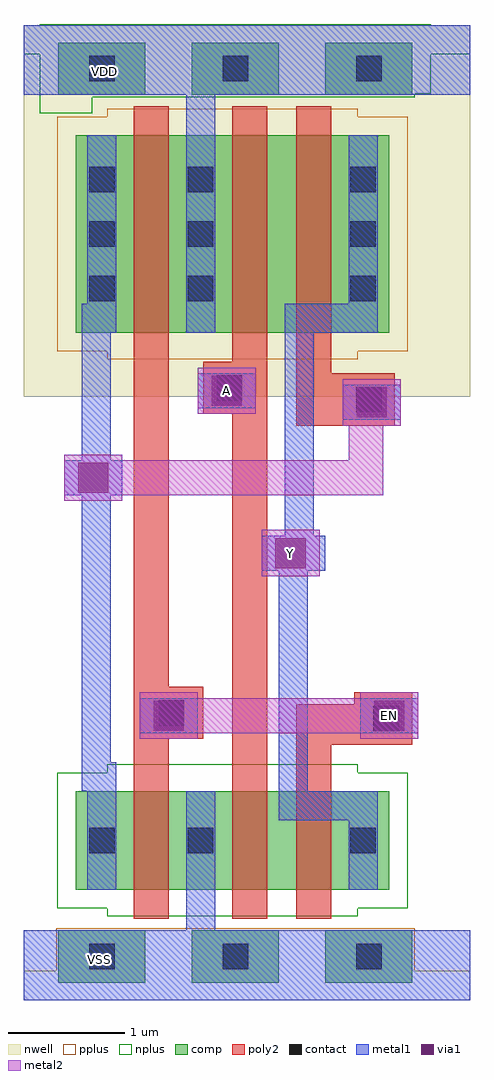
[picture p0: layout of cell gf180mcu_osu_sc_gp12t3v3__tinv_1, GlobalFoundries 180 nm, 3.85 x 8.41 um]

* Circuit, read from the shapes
.subckt gf180mcu_osu_sc_gp12t3v3__tinv_1 A EN VDD VSS Y
XM1 VSS EN n1 VSS nfet_03v3 w=0.85u l=0.3u
XM2 n2 A VSS VSS nfet_03v3 w=0.85u l=0.3u
XM3 Y EN n2 VSS nfet_03v3 w=0.85u l=0.3u
XM4 VDD EN n1 VDD pfet_03v3 w=1.7u l=0.3u
XM5 n3 A VDD VDD pfet_03v3 w=1.7u l=0.3u
XM6 Y n1 n3 VDD pfet_03v3 w=1.7u l=0.3u
.ends

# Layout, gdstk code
import gdstk
lib = gdstk.Library(unit=1e-6, precision=1e-09)
def R(c, l, rs):  # rectangles x0, y0, x1, y1
    for r in rs: c.add(gdstk.rectangle(r[:2], r[2:], *l))
def A(c, l, x, y, w, h, nx, ny, dx, dy):  # array of equal rectangles
    R(c, l, [(x+i*dx, y+j*dy, x+i*dx+w, y+j*dy+h) for i in range(nx) for j in range(ny)])
nwell = (21, 0)
comp = (22, 0)
poly2 = (30, 0)
pplus = (31, 0)
nplus = (32, 0)
contact = (33, 0)
metal1 = (34, 0)
via1 = (35, 0)
metal2 = (36, 0)

gf180mcu_osu_sc_gp12t3v3 = lib.new_cell('gf180mcu_osu_sc_gp12t3v3__tinv_1')
R(gf180mcu_osu_sc_gp12t3v3, nwell, [(0,5.2,3.85,8.4)])
A(gf180mcu_osu_sc_gp12t3v3, comp, 0.3, 0.15, 0.75, 0.45, 3, 2, 1.15, 7.65)
R(gf180mcu_osu_sc_gp12t3v3, comp, [(0.45,0.95,3.15,1.8), (0.45,5.75,3.15,7.45)])
R(gf180mcu_osu_sc_gp12t3v3, poly2, [(0.95,0.7,1.25,2.25), (1.8,0.7,2.1,5.05), (2.35,0.7,2.65,2.2), (2.35,2.2,3.35,2.55), (0.95,2.25,1.55,2.7), (2.85,2.55,3.35,2.65), (0.95,2.7,1.25,7.7), (2.35,4.95,3.2,5.4), (1.55,5.05,2.1,5.5), (2.35,5.4,2.65,7.7), (1.8,5.5,2.1,7.7)])
R(gf180mcu_osu_sc_gp12t3v3, pplus, [(0,0,3.85,0.25), (0.28,0.13,3.37,0.62), (0.72,5.52,2.88,5.59), (0.29,5.59,3.31,7.61), (0.72,7.61,2.88,7.68)])
R(gf180mcu_osu_sc_gp12t3v3, nplus, [(0.72,0.72,2.88,0.79), (0.29,0.79,3.31,1.96), (0.72,1.96,2.88,2.03), (0.14,7.64,0.59,7.78), (0.14,7.78,3.37,7.81), (0.14,7.81,3.51,8.15), (0,8.15,3.85,8.4), (0,8.15,3.85,8.4), (0.14,8.4,3.51,8.41)])
A(gf180mcu_osu_sc_gp12t3v3, contact, 0.565, 0.265, 0.22, 0.22, 3, 2, 1.15, 7.65)
A(gf180mcu_osu_sc_gp12t3v3, contact, 0.565, 6.02, 0.22, 0.22, 1, 3, 0, 0.47)
A(gf180mcu_osu_sc_gp12t3v3, contact, 1.415, 6.02, 0.22, 0.22, 1, 3, 0, 0.47)
A(gf180mcu_osu_sc_gp12t3v3, contact, 2.815, 6.02, 0.22, 0.22, 1, 3, 0, 0.47)
R(gf180mcu_osu_sc_gp12t3v3, contact, [(0.565,1.265,0.785,1.485), (1.415,1.265,1.635,1.485), (2.815,1.265,3.035,1.485), (3.015,2.315,3.235,2.535), (1.165,2.365,1.385,2.585), (2.865,5.065,3.085,5.285), (1.665,5.165,1.885,5.385)])
R(gf180mcu_osu_sc_gp12t3v3, metal1, [(0,0,3.85,0.6), (1.4,0.6,1.65,1.8), (0.55,0.95,0.8,1.8), (2.8,0.95,3.05,1.55), (2.2,1.55,3.05,1.8), (0.5,1.8,0.8,2.05), (2.2,1.8,2.45,3.7), (0.5,2.05,0.75,4.35), (1,2.3,1.5,2.6), (2.9,2.3,3.4,2.6), (2.05,3.7,2.6,4), (2.25,4,2.5,5.75), (0.35,4.35,0.85,4.65), (0.5,4.65,0.75,5.75), (2.75,5,3.25,5.3), (1.5,5.1,2,5.4), (0.5,5.75,0.8,6), (1.4,5.75,1.65,7.8), (2.25,5.75,3.05,6), (0.55,6,0.8,7.45), (2.8,6,3.05,7.45), (0,7.8,3.85,8.4)])
R(gf180mcu_osu_sc_gp12t3v3, via1, [(1.12,2.32,1.38,2.58), (3.02,2.32,3.28,2.58), (2.17,3.72,2.43,3.98), (0.47,4.37,0.73,4.63), (2.87,5.02,3.13,5.28), (1.62,5.12,1.88,5.38)])
R(gf180mcu_osu_sc_gp12t3v3, metal2, [(1,2.25,1.5,2.3), (2.9,2.25,3.4,2.3), (1,2.3,3.4,2.6), (1,2.6,1.5,2.65), (2.9,2.6,3.4,2.65), (2.05,3.65,2.55,4.05), (0.35,4.3,0.85,4.35), (0.35,4.35,3.1,4.65), (0.35,4.65,0.85,4.7), (2.8,4.65,3.1,4.95), (2.75,4.95,3.25,5.35), (1.5,5.05,2,5.45)])
gf180mcu_osu_sc_gp12t3v3.add(gdstk.Label('A', (1.75,5.25), layer=36, texttype=10))
gf180mcu_osu_sc_gp12t3v3.add(gdstk.Label('EN', (3.15,2.45), layer=36, texttype=10))
gf180mcu_osu_sc_gp12t3v3.add(gdstk.Label('VDD', (0.7,8), layer=34, texttype=10))
gf180mcu_osu_sc_gp12t3v3.add(gdstk.Label('VSS', (0.65,0.35), layer=34, texttype=10))
gf180mcu_osu_sc_gp12t3v3.add(gdstk.Label('Y', (2.3,3.85), layer=36, texttype=10))

lib.write_gds('gf180mcu_osu_sc_gp12t3v3__tinv_1.gds')
